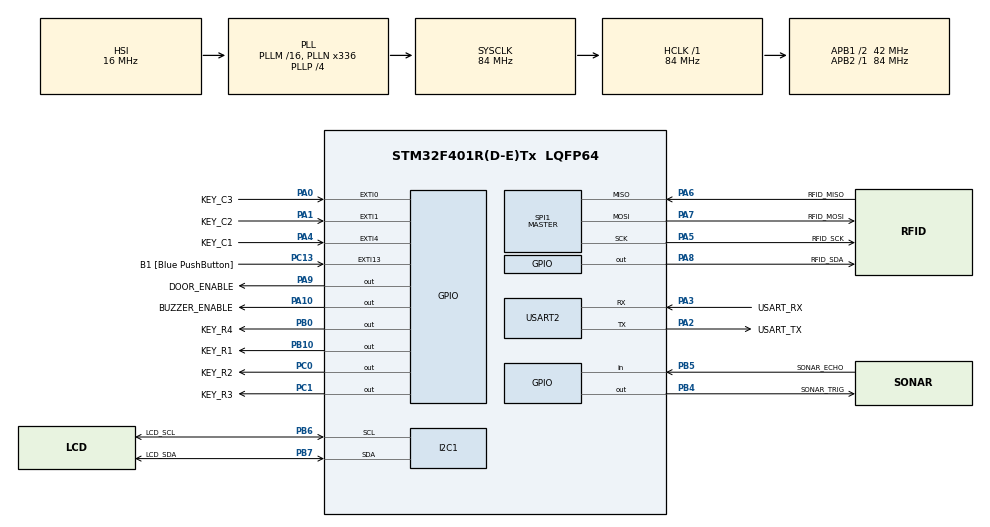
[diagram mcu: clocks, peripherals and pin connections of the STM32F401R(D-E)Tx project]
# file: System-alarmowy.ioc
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Mcu.Family=STM32F4
Mcu.Name=STM32F401R(D-E)Tx
Mcu.Package=LQFP64
NVIC.EXTI0_IRQn=true\:0\:0\:false\:false\:true\:true\:true
NVIC.EXTI1_IRQn=true\:0\:0\:false\:false\:true\:true\:true
NVIC.EXTI4_IRQn=true\:0\:0\:false\:false\:true\:true\:true
NVIC.PriorityGroup=NVIC_PRIORITYGROUP_0
NVIC.SPI1_IRQn=true\:0\:0\:false\:false\:true\:true\:true
NVIC.TIM2_IRQn=true\:0\:0\:false\:false\:true\:true\:true
NVIC.USART2_IRQn=true\:0\:0\:false\:false\:true\:true\:true
PA0-WKUP.GPIO_Label=KEY_C3
PA0-WKUP.GPIO_ModeDefaultEXTI=GPIO_MODE_IT_FALLING
PA0-WKUP.GPIO_PuPd=GPIO_PULLUP
PA0-WKUP.Signal=GPXTI0
PA1.GPIO_Label=KEY_C2
PA1.GPIO_ModeDefaultEXTI=GPIO_MODE_IT_FALLING
PA1.GPIO_PuPd=GPIO_PULLUP
PA1.Signal=GPXTI1
PA10.GPIO_Label=BUZZER_ENABLE
PA10.Signal=GPIO_Output
PA13.GPIO_Label=TMS
PA13.Mode=Serial_Wire
PA13.Signal=SYS_JTMS-SWDIO
PA14.GPIO_Label=TCK
PA14.Mode=Serial_Wire
PA14.Signal=SYS_JTCK-SWCLK
PA2.GPIO_Label=USART_TX
PA2.GPIO_Mode=GPIO_MODE_AF_PP
PA2.GPIO_PuPd=GPIO_NOPULL
PA2.GPIO_Speed=GPIO_SPEED_FREQ_LOW
PA2.Mode=Asynchronous
PA2.Signal=USART2_TX
PA3.GPIO_Label=USART_RX
PA3.GPIO_Mode=GPIO_MODE_AF_PP
PA3.GPIO_PuPd=GPIO_NOPULL
PA3.GPIO_Speed=GPIO_SPEED_FREQ_LOW
PA3.Mode=Asynchronous
PA3.Signal=USART2_RX
PA4.GPIO_Label=KEY_C1
PA4.GPIO_ModeDefaultEXTI=GPIO_MODE_IT_FALLING
PA4.GPIO_PuPd=GPIO_PULLUP
PA4.Signal=GPXTI4
PA5.GPIO_Label=RFID_SCK
PA5.Mode=Full_Duplex_Master
PA5.Signal=SPI1_SCK
PA6.GPIO_Label=RFID_MISO
PA6.Mode=Full_Duplex_Master
PA6.Signal=SPI1_MISO
PA7.GPIO_Label=RFID_MOSI
PA7.Mode=Full_Duplex_Master
PA7.Signal=SPI1_MOSI
PA8.GPIO_Label=RFID_SDA
PA8.Signal=GPIO_Output
PA9.GPIO_Label=DOOR_ENABLE
PA9.Signal=GPIO_Output
PB0.GPIO_Label=KEY_R4
PB0.Signal=GPIO_Output
PB10.GPIO_Label=KEY_R1
PB10.Signal=GPIO_Output
PB3.GPIO_Label=SWO
PB3.Signal=SYS_JTDO-SWO
PB4.GPIO_Label=SONAR_TRIG
PB4.GPIO_PuPd=GPIO_PULLDOWN
PB4.Signal=GPIO_Output
PB5.GPIO_Label=SONAR_ECHO
PB5.Signal=GPIO_Input
PB6.GPIO_Label=LCD_SCL
PB6.Mode=I2C
PB6.Signal=I2C1_SCL
PB7.GPIO_Label=LCD_SDA
PB7.Mode=I2C
PB7.Signal=I2C1_SDA
PC0.GPIO_Label=KEY_R2
PC0.PinState=GPIO_PIN_SET
PC0.Signal=GPIO_Output
PC1.GPIO_Label=KEY_R3
PC1.Signal=GPIO_Output
PC13-ANTI_TAMP.GPIO_Label=B1 [Blue PushButton]
PC13-ANTI_TAMP.GPIO_ModeDefaultEXTI=GPIO_MODE_IT_FALLING
PC13-ANTI_TAMP.GPIO_PuPd=GPIO_NOPULL
PC13-ANTI_TAMP.Signal=GPXTI13
PC14-OSC32_IN.Mode=LSE-External-Oscillator
PC14-OSC32_IN.Signal=RCC_OSC32_IN
PC15-OSC32_OUT.Mode=LSE-External-Oscillator
PC15-OSC32_OUT.Signal=RCC_OSC32_OUT
PH0\ -\ OSC_IN.Mode=HSE-External-Clock-Source
PH0\ -\ OSC_IN.Signal=RCC_OSC_IN
PH1\ -\ OSC_OUT.Mode=HSE-External-Clock-Source
PH1\ -\ OSC_OUT.Signal=RCC_OSC_OUT
ProjectManager.HeapSize=0x200
ProjectManager.StackSize=0x400
ProjectManager.TargetToolchain=STM32CubeIDE
RCC.48MHZClocksFreq_Value=48000000
RCC.AHBFreq_Value=84000000
RCC.APB1CLKDivider=RCC_HCLK_DIV2
RCC.APB1Freq_Value=42000000
RCC.APB1TimFreq_Value=84000000
RCC.APB2Freq_Value=84000000
RCC.APB2TimFreq_Value=84000000
RCC.CortexFreq_Value=84000000
RCC.HCLKFreq_Value=84000000
RCC.HSE_VALUE=8000000
RCC.HSI_VALUE=16000000
RCC.PLLN=336
RCC.PLLP=RCC_PLLP_DIV4
RCC.PLLQ=7
RCC.SYSCLKFreq_VALUE=84000000
RCC.SYSCLKSource=RCC_SYSCLKSOURCE_PLLCLK
RCC.VCOOutputFreq_Value=336000000
SPI1.BaudRatePrescaler=SPI_BAUDRATEPRESCALER_16
SPI1.Direction=SPI_DIRECTION_2LINES
SPI1.Mode=SPI_MODE_MASTER
SPI1.VirtualType=VM_MASTER
TIM2.Period=9
TIM2.Prescaler=83
USART2.VirtualMode=VM_ASYNC
VP_TIM2_VS_ClockSourceINT.Mode=Internal
board=NUCLEO-F401RE

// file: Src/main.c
/* USER CODE BEGIN Header */
/**
 ******************************************************************************
 * @file           : main.c
 * @brief          : Main program body
 ******************************************************************************
 * @attention
 *
 * <h2><center>&copy; Copyright (c) 2019 STMicroelectronics.
 * All rights reserved.</center></h2>
 *
 * This software component is licensed by ST under BSD 3-Clause license,
 * the "License"; You may not use this file except in compliance with the
 * License. You may obtain a copy of the License at:
 *                        opensource.org/licenses/BSD-3-Clause
 *
 ******************************************************************************
 */
/* USER CODE END Header */

#include "main.h"
#include "i2c.h"
#include "spi.h"
#include "tim.h"
#include "usart.h"
#include "gpio.h"

/* USER CODE BEGIN Includes */
#include "alarm.h"
#include "sonar.h"
#include "lcd.h"
#include "state_machine.h"
#include "admin.h"

/* USER CODE END Includes */

/* USER CODE BEGIN PV */
SPI_HandleTypeDef *hspi_rfid = &hspi1;
//I2C_HandleTypeDef *hi2c1_lcd = &hi2c1;
I2C_HandleTypeDef hi2c1;

/* USER CODE END PV */

void SystemClock_Config(void);
/* USER CODE BEGIN PFP */
static void MODULES_Init();
/* USER CODE END PFP */

int main(void) {

	/* MCU Configuration--------------------------------------------------------*/

	/* Reset of all peripherals, Initializes the Flash interface and the Systick. */
	HAL_Init();

	/* Configure the system clock */
	SystemClock_Config();

	/* Initialize all configured peripherals */
	MX_GPIO_Init();
	MX_USART2_UART_Init();
	MX_I2C1_Init();
	MX_TIM2_Init();
	MX_SPI1_Init();
	/* USER CODE BEGIN 2 */
	HAL_Delay(2000);
	MODULES_Init();
	HAL_TIM_Base_Start_IT(&htim2);
	HAL_Delay(1000);
	/* USER CODE END 2 */

	/* Infinite loop */
	/* USER CODE BEGIN WHILE */

	while (1) {
		ALARM_CheckIfAdminOperation();
		if (stateMachine.actualState != ADMIN_OPERATION)
			ALARM_CheckIfIntruderDetected();
		switch (stateMachine.actualState) {
		case WAIT_FOR_CARD: {
			ALARM_CheckIfCardDetected();
			break;
		}
		case WAIT_FOR_PIN: {
			ALARM_CheckIfPinCorrect();
			break;
		}
		case ADMIN_OPERATION: {
			break;
		}
		default: {
			break;
		}
		}

		/* USER CODE END WHILE */

	}
}

void SystemClock_Config(void) {
	RCC_OscInitTypeDef RCC_OscInitStruct = { 0 };
	RCC_ClkInitTypeDef RCC_ClkInitStruct = { 0 };

	/** Configure the main internal regulator output voltage
	 */
	__HAL_RCC_PWR_CLK_ENABLE();
	__HAL_PWR_VOLTAGESCALING_CONFIG(PWR_REGULATOR_VOLTAGE_SCALE2);
	/** Initializes the CPU, AHB and APB busses clocks
	 */
	RCC_OscInitStruct.OscillatorType = RCC_OSCILLATORTYPE_HSI;
	RCC_OscInitStruct.HSIState = RCC_HSI_ON;
	RCC_OscInitStruct.HSICalibrationValue = RCC_HSICALIBRATION_DEFAULT;
	RCC_OscInitStruct.PLL.PLLState = RCC_PLL_ON;
	RCC_OscInitStruct.PLL.PLLSource = RCC_PLLSOURCE_HSI;
	RCC_OscInitStruct.PLL.PLLM = 16;
	RCC_OscInitStruct.PLL.PLLN = 336;
	RCC_OscInitStruct.PLL.PLLP = RCC_PLLP_DIV4;
	RCC_OscInitStruct.PLL.PLLQ = 7;
	if (HAL_RCC_OscConfig(&RCC_OscInitStruct) != HAL_OK) {
		Error_Handler();
	}
	/** Initializes the CPU, AHB and APB busses clocks
	 */
	RCC_ClkInitStruct.ClockType = RCC_CLOCKTYPE_HCLK | RCC_CLOCKTYPE_SYSCLK
			| RCC_CLOCKTYPE_PCLK1 | RCC_CLOCKTYPE_PCLK2;
	RCC_ClkInitStruct.SYSCLKSource = RCC_SYSCLKSOURCE_PLLCLK;
	RCC_ClkInitStruct.AHBCLKDivider = RCC_SYSCLK_DIV1;
	RCC_ClkInitStruct.APB1CLKDivider = RCC_HCLK_DIV2;
	RCC_ClkInitStruct.APB2CLKDivider = RCC_HCLK_DIV1;

	if (HAL_RCC_ClockConfig(&RCC_ClkInitStruct, FLASH_LATENCY_2) != HAL_OK) {
		Error_Handler();
	}
}

/* USER CODE BEGIN 4 */

/**
 * Initalization of all components
 */
static void MODULES_Init() {
	STATEMACHINE_Init();
	MFRC522_Init();
	ALARM_Init();
	LCD_Init();
	ADMIN_Init();
}

/* USER CODE END 4 */

void Error_Handler(void) {
}

/************************ (C) COPYRIGHT STMicroelectronics *****END OF FILE****/
